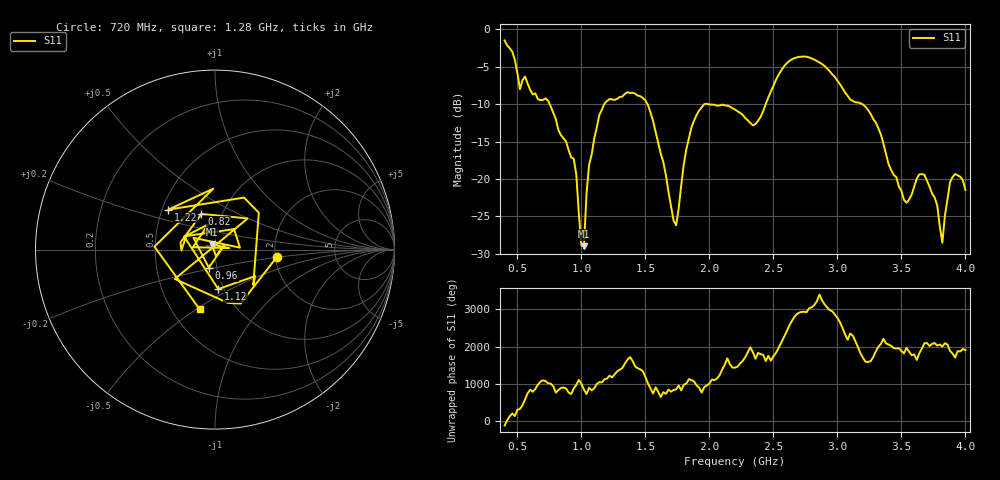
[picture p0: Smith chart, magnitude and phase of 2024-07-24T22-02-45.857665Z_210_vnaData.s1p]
!Created with skrf (http://scikit-rf.org).
# Hz S RI R 50.0
!freq ReS11 ImS11
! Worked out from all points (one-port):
!   181 points, 400 MHz to 4 GHz, reference 50 ohm
!   lowest |S11| = -29.0 dB at 1.02 GHz (marker M1), VSWR 1.07, Z = 48 + j2.86 ohm
!   |S11| at or under -10 dB: 1.515 GHz to 1.96 GHz (444.4 MHz wide, 25.6 % of centre); 1.99 GHz to 2.44 GHz (449.3 MHz wide, 20.3 % of centre); 3.195 GHz to end of sweep (the widest 3 of 4)
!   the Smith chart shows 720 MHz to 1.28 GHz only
!   S11 on the Smith chart (normalised r, x): 720 MHz: 2.03, -0.20; 820 MHz: 0.80, +0.33; 960 MHz: 0.92, -0.19; 1.12 GHz: 0.94, -0.43; 1.22 GHz: 0.54, +0.27; 1.28 GHz: 0.68, -0.52
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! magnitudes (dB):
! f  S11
! 400 MHz  -1.5
! 520 MHz  -8.0
! 720 MHz  -9.2
! 820 MHz  -13.5
! 860 MHz  -14.6
! 960 MHz  -19.4
! 1 GHz  -28.9
! 1.02 GHz  -29.0
! 1.06 GHz  -18.1
! 1.12 GHz  -13.1
! 1.22 GHz  -9.3
! 1.28 GHz  -9.3
! 1.3 GHz  -9.0
! 1.52 GHz  -10.1
! 1.72 GHz  -25.6
! 1.76 GHz  -23.9
! 1.82 GHz  -16.0
! 1.92 GHz  -10.8
! 2.2 GHz  -10.7
! 2.36 GHz  -12.7
! 2.66 GHz  -3.9
! 3.1 GHz  -9.4
! 3.3 GHz  -12.5
! 3.56 GHz  -22.8
! 3.68 GHz  -19.4
! 3.82 GHz  -28.6
! 3.88 GHz  -20.4
! 4 GHz  -21.5
